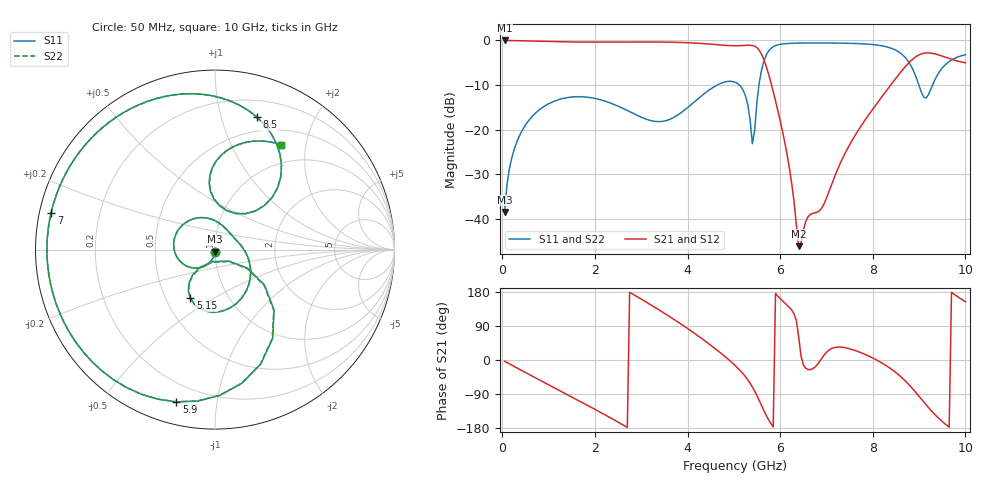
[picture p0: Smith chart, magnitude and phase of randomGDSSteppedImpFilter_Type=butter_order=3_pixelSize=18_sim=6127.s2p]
! freq	dB(S11)	phase(S11)	dB(S12)	phase(S12)
!  dB(S21)	phase(S21)	dB(S22)	phase(S22)
!S-par simulation data
#  GHz  S  DB  R 50
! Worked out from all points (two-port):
!   200 points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, 50 MHz to 10 GHz, reference 50 ohm
!   highest |S21| = -0.01 dB at 50 MHz (marker M1); lowest = -46.1 dB at 6.4 GHz (marker M2)
!   |S21| within 3 dB of the highest: start of sweep to 5.593 GHz; 9.054 GHz to 9.339 GHz (284.5 MHz wide, 3.09 % of centre)
!   lowest |S11| = -38.4 dB at 50 MHz (marker M3), VSWR 1.02, Z = 49.9 - j1.2 ohm
!   |S11| at or under -10 dB: start of sweep to 4.641 GHz; 5.118 GHz to 5.543 GHz (424.6 MHz wide, 7.96 % of centre); 8.996 GHz to 9.29 GHz (294.3 MHz wide, 3.22 % of centre)
!   |S22| runs from -38.4 to -0.6 dB; largest |S21 - S12| = 0
!   S11 on the Smith chart (normalised r, x): 50 MHz: 1.00, -0.02; 5.15 GHz: 0.66, -0.40; 5.9 GHz: 0.11, -0.77; 7 GHz: 0.03, +0.11; 8.5 GHz: 0.35, +1.30; 10 GHz: 0.71, +1.58
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0.05  -38.42 -92.8  -0.01 -3.3  -0.01 -3.3  -38.42 -92.8
0.2  -26.52 -103.1  -0.03 -13.3  -0.03 -13.3  -26.52 -103.1
0.5  -18.97 -123.4  -0.10 -33.0  -0.10 -33.0  -18.97 -123.4
1.15  -13.50 -165.7  -0.29 -75.1  -0.29 -75.1  -13.50 -165.6
1.75  -12.64 155.6  -0.38 -113.7  -0.38 -113.7  -12.64 155.8
2.65  -15.45 95.3  -0.34 -174.3  -0.34 -174.3  -15.46 95.8
3.4  -18.18 40.2  -0.36 131.0  -0.36 131.0  -18.19 41.1
4.2  -13.30 -25.3  -0.61 66.1  -0.61 66.1  -13.30 -24.7
5.05  -9.46 -106.0  -1.20 -17.1  -1.20 -17.1  -9.46 -105.6
5.15  -10.34 -116.9  -1.17 -29.6  -1.17 -29.6  -10.33 -116.5
5.4  -23.14 -104.0  -1.14 -71.0  -1.14 -71.0  -22.84 -103.0
5.65  -4.59 -56.9  -4.34 -134.1  -4.34 -134.1  -4.59 -57.2
5.9  -1.16 -104.2  -13.53 175.6  -13.53 175.6  -1.16 -104.3
6.2  -0.66 -137.6  -28.61 138.7  -28.61 138.7  -0.66 -137.7
6.4  -0.60 -153.8  -46.09 61.5  -46.09 61.5  -0.60 -153.9
6.7  -0.57 -174.4  -38.75 -23.3  -38.75 -23.3  -0.57 -174.4
7  -0.58 167.2  -35.33 20.3  -35.33 20.3  -0.58 167.2
8.35  -1.59 84.3  -10.50 -19.7  -10.50 -19.7  -1.59 84.3
8.5  -2.21 72.6  -8.46 -33.2  -8.46 -33.2  -2.21 72.6
9.05  -11.62 49.6  -3.02 -103.6  -3.02 -103.6  -11.59 49.6
9.45  -6.85 92.0  -3.34 -156.8  -3.34 -156.8  -6.84 91.8
10  -3.21 57.8  -5.02 153.8  -5.02 153.8  -3.21 57.6
